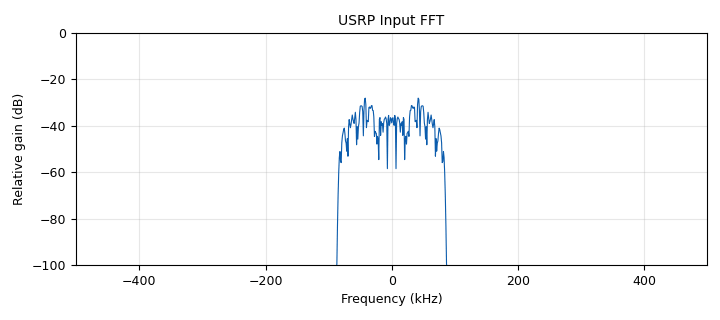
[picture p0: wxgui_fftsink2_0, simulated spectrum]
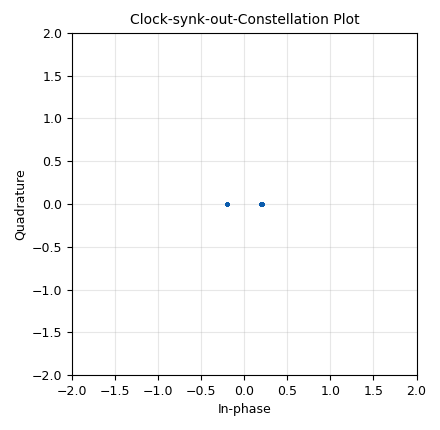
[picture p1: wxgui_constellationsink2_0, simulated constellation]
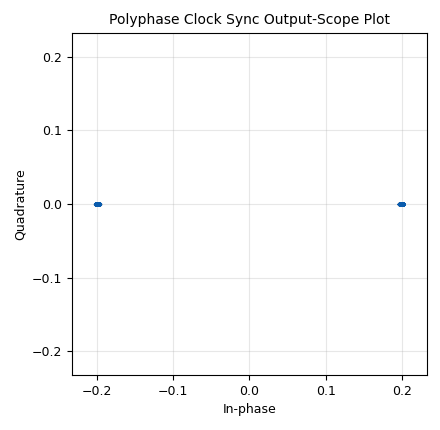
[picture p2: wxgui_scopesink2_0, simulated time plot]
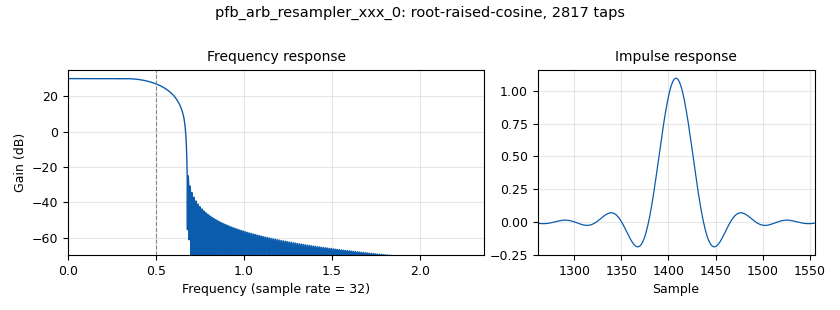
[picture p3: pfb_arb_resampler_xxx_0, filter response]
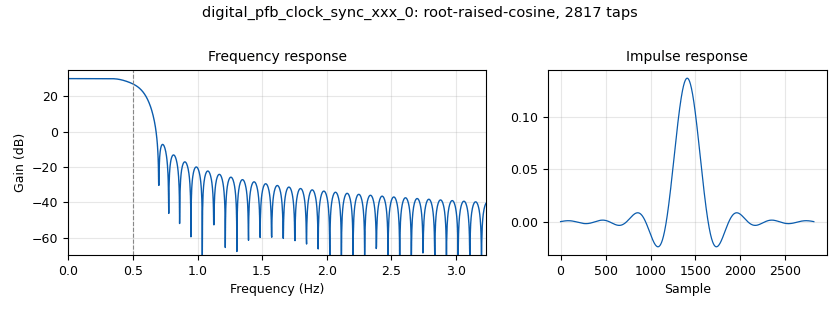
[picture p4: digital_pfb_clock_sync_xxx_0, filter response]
<?xml version='1.0' encoding='utf-8'?>
<flow_graph>
<block>
<key>variable</key>
<param><key>id</key><value>nfilts</value></param>
<param><key>value</key><value>32</value></param>
</block>
<block>
<key>variable</key>
<param><key>id</key><value>constellation</value></param>
<param><key>value</key><value>digital.constellation_bpsk()</value></param>
</block>
<block>
<key>variable</key>
<param><key>id</key><value>sps</value></param>
<param><key>value</key><value>8</value></param>
</block>
<block>
<key>variable</key>
<param><key>id</key><value>rx_taps</value></param>
<param><key>value</key><value>filter.firdes.root_raised_cosine(nfilts, nfilts*sps, 1.0, excess_bw, ntaps)</value></param>
</block>
<block>
<key>variable</key>
<param><key>id</key><value>ntaps</value></param>
<param><key>value</key><value>11*nfilts*sps</value></param>
</block>
<block>
<key>variable</key>
<param><key>id</key><value>tx_taps</value></param>
<param><key>value</key><value>filter.firdes.root_raised_cosine(nfilts, nfilts, 1.0, excess_bw, ntaps)</value></param>
</block>
<block>
<key>variable</key>
<param><key>id</key><value>fll_ntaps</value></param>
<param><key>value</key><value>55</value></param>
</block>
<block>
<key>variable</key>
<param><key>id</key><value>excess_bw</value></param>
<param><key>value</key><value>0.35</value></param>
</block>
<block>
<key>variable</key>
<param><key>id</key><value>freq_bw</value></param>
<param><key>value</key><value>2*pi/100</value></param>
</block>
<block>
<key>variable</key>
<param><key>id</key><value>timing_bw</value></param>
<param><key>value</key><value>2*pi/100</value></param>
</block>
<block>
<key>variable</key>
<param><key>id</key><value>timing_max_dev</value></param>
<param><key>value</key><value>1.5</value></param>
</block>
<block>
<key>variable</key>
<param><key>id</key><value>phase_bw</value></param>
<param><key>value</key><value>2*pi/100</value></param>
</block>
<block>
<key>variable</key>
<param><key>id</key><value>bps</value></param>
<param><key>value</key><value>constellation.bits_per_symbol()</value></param>
</block>
<block>
<key>variable</key>
<param><key>id</key><value>arity</value></param>
<param><key>value</key><value>pow(2, bps)</value></param>
</block>
<block>
<key>variable</key>
<param><key>id</key><value>samp_rate</value></param>
<param><key>value</key><value>1e6</value></param>
</block>
<block>
<key>import</key>
<param><key>id</key><value>pi</value></param>
<param><key>import</key><value>from math import pi</value></param>
</block>
<block>
<key>import</key>
<param><key>id</key><value>filt</value></param>
<param><key>import</key><value>from gnuradio import filter</value></param>
</block>
<block>
<key>import</key>
<param><key>id</key><value>digital</value></param>
<param><key>import</key><value>from gnuradio import digital</value></param>
</block>
<block>
<key>digital_map_bb</key>
<param><key>id</key><value>digital_map_bb_0</value></param>
<param><key>map</key><value>constellation.pre_diff_code()</value></param>
</block>
<block>
<key>digital_chunks_to_symbols_xx</key>
<param><key>id</key><value>digital_chunks_to_symbols_xx_0</value></param>
<param><key>in_type</key><value>byte</value></param>
<param><key>out_type</key><value>complex</value></param>
<param><key>symbol_table</key><value>constellation.points()</value></param>
<param><key>dimension</key><value>1</value></param>
</block>
<block>
<key>blocks_multiply_const_vxx</key>
<param><key>id</key><value>blocks_multiply_const_vxx_0</value></param>
<param><key>type</key><value>complex</value></param>
<param><key>const</key><value>0.2</value></param>
</block>
<block>
<key>uhd_usrp_sink</key>
<param><key>id</key><value>uhd_usrp_sink_0</value></param>
<param><key>_enabled</key><value>False</value></param>
<param><key>type</key><value>fc32</value></param>
<param><key>dev_addr</key><value></value></param>
<param><key>sync</key><value></value></param>
<param><key>clock_rate</key><value>0.0</value></param>
<param><key>samp_rate</key><value>samp_rate</value></param>
<param><key>center_freq0</key><value>900e6</value></param>
<param><key>gain0</key><value>20</value></param>
<param><key>ant0</key><value></value></param>
</block>
<block>
<key>wxgui_fftsink2</key>
<param><key>id</key><value>wxgui_fftsink2_0</value></param>
<param><key>type</key><value>complex</value></param>
<param><key>title</key><value>USRP Input FFT</value></param>
<param><key>samp_rate</key><value>samp_rate</value></param>
<param><key>baseband_freq</key><value>0</value></param>
<param><key>y_per_div</key><value>10</value></param>
<param><key>y_divs</key><value>10</value></param>
<param><key>ref_level</key><value>0</value></param>
<param><key>ref_scale</key><value>2.0</value></param>
<param><key>fft_size</key><value>1024</value></param>
<param><key>fft_rate</key><value>15</value></param>
<param><key>peak_hold</key><value>False</value></param>
<param><key>average</key><value>False</value></param>
<param><key>avg_alpha</key><value>0</value></param>
<param><key>win</key><value>window.blackmanharris</value></param>
<param><key>notebook</key><value>notebook, 1</value></param>
<param><key>freqvar</key><value>None</value></param>
</block>
<block>
<key>notebook</key>
<param><key>id</key><value>notebook</value></param>
<param><key>style</key><value>wx.NB_TOP</value></param>
<param><key>labels</key><value>['clock-sync-out-scope', 'usrp-in-fft', 'clock-sync-out-const']</value></param>
</block>
<block>
<key>uhd_usrp_source</key>
<param><key>id</key><value>uhd_usrp_source_0</value></param>
<param><key>_enabled</key><value>False</value></param>
<param><key>type</key><value>fc32</value></param>
<param><key>dev_addr</key><value></value></param>
<param><key>sync</key><value></value></param>
<param><key>clock_rate</key><value>0.0</value></param>
<param><key>samp_rate</key><value>samp_rate</value></param>
<param><key>center_freq0</key><value>0</value></param>
<param><key>gain0</key><value>0</value></param>
<param><key>ant0</key><value></value></param>
</block>
<block>
<key>blocks_throttle</key>
<param><key>id</key><value>blocks_throttle_0</value></param>
<param><key>type</key><value>complex</value></param>
<param><key>samples_per_second</key><value>samp_rate</value></param>
</block>
<block>
<key>digital_fll_band_edge_cc</key>
<param><key>id</key><value>digital_fll_band_edge_cc_0</value></param>
<param><key>type</key><value>cc</value></param>
<param><key>samps_per_sym</key><value>sps</value></param>
<param><key>rolloff</key><value>excess_bw</value></param>
<param><key>filter_size</key><value>fll_ntaps</value></param>
<param><key>w</key><value>freq_bw</value></param>
</block>
<block>
<key>wxgui_constellationsink2</key>
<param><key>id</key><value>wxgui_constellationsink2_0</value></param>
<param><key>title</key><value>Clock-synk-out-Constellation Plot</value></param>
<param><key>samp_rate</key><value>samp_rate/sps</value></param>
<param><key>frame_rate</key><value>5</value></param>
<param><key>const_size</key><value>2048</value></param>
<param><key>M</key><value>4</value></param>
<param><key>theta</key><value>0</value></param>
<param><key>loop_bw</key><value>6.28/100.0</value></param>
<param><key>fmax</key><value>0.06</value></param>
<param><key>mu</key><value>0.5</value></param>
<param><key>gain_mu</key><value>0.005</value></param>
<param><key>symbol_rate</key><value>samp_rate/sps</value></param>
<param><key>omega_limit</key><value>0.005</value></param>
<param><key>notebook</key><value>notebook, 2</value></param>
</block>
<block>
<key>wxgui_scopesink2</key>
<param><key>id</key><value>wxgui_scopesink2_0</value></param>
<param><key>type</key><value>complex</value></param>
<param><key>title</key><value>Polyphase Clock Sync Output-Scope Plot</value></param>
<param><key>samp_rate</key><value>samp_rate/sps</value></param>
<param><key>v_scale</key><value>0</value></param>
<param><key>v_offset</key><value>0</value></param>
<param><key>t_scale</key><value>0</value></param>
<param><key>ac_couple</key><value>False</value></param>
<param><key>xy_mode</key><value>True</value></param>
<param><key>num_inputs</key><value>1</value></param>
<param><key>notebook</key><value>notebook, 0</value></param>
<param><key>trig_mode</key><value>wxgui.TRIG_MODE_AUTO</value></param>
<param><key>y_axis_label</key><value>Counts</value></param>
</block>
<block>
<key>pfb_arb_resampler_xxx</key>
<param><key>id</key><value>pfb_arb_resampler_xxx_0</value></param>
<param><key>type</key><value>ccf</value></param>
<param><key>rrate</key><value>sps</value></param>
<param><key>taps</key><value>tx_taps</value></param>
<param><key>nfilts</key><value>32</value></param>
<param><key>atten</key><value>100</value></param>
</block>
<block>
<key>digital_pfb_clock_sync_xxx</key>
<param><key>id</key><value>digital_pfb_clock_sync_xxx_0</value></param>
<param><key>type</key><value>ccf</value></param>
<param><key>sps</key><value>sps</value></param>
<param><key>loop_bw</key><value>timing_bw</value></param>
<param><key>taps</key><value>rx_taps</value></param>
<param><key>filter_size</key><value>nfilts</value></param>
<param><key>init_phase</key><value>nfilts//2</value></param>
<param><key>max_dev</key><value>timing_max_dev</value></param>
<param><key>osps</key><value>1</value></param>
</block>
<block>
<key>import</key>
<param><key>id</key><value>mod_codes</value></param>
<param><key>import</key><value>from gnuradio.digital.utils import mod_codes</value></param>
</block>
<block>
<key>digital_diff_decoder_bb</key>
<param><key>id</key><value>digital_diff_decoder_bb_0</value></param>
<param><key>modulus</key><value>arity</value></param>
</block>
<block>
<key>analog_random_source_x</key>
<param><key>id</key><value>analog_random_source_x_0</value></param>
<param><key>type</key><value>byte</value></param>
<param><key>min</key><value>0</value></param>
<param><key>max</key><value>256</value></param>
<param><key>num_samps</key><value>10000</value></param>
<param><key>repeat</key><value>True</value></param>
</block>
<block>
<key>blocks_packed_to_unpacked_xx</key>
<param><key>id</key><value>blocks_packed_to_unpacked_xx_0</value></param>
<param><key>type</key><value>byte</value></param>
<param><key>bits_per_chunk</key><value>bps</value></param>
<param><key>endianness</key><value>gr.GR_MSB_FIRST</value></param>
</block>
<block>
<key>digital_map_bb</key>
<param><key>id</key><value>digital_map_bb_1</value></param>
<param><key>map</key><value>mod_codes.invert_code(constellation.pre_diff_code())</value></param>
</block>
<block>
<key>options</key>
<param><key>id</key><value>top_block</value></param>
<param><key>generate_options</key><value>wx_gui</value></param>
<param><key>category</key><value>Custom</value></param>
</block>
<block>
<key>blocks_file_sink</key>
<param><key>id</key><value>blocks_file_sink_0</value></param>
<param><key>file</key><value>/home/manu/flowgraphs/rsource-out.bin</value></param>
<param><key>type</key><value>byte</value></param>
</block>
<block>
<key>blocks_file_sink</key>
<param><key>id</key><value>blocks_file_sink_1</value></param>
<param><key>file</key><value>/home/manu/flowgraphs/pkd-unpkd.bin</value></param>
<param><key>type</key><value>byte</value></param>
</block>
<block>
<key>blocks_file_sink</key>
<param><key>id</key><value>blocks_file_sink_2</value></param>
<param><key>file</key><value>/home/manu/flowgraphs/rec-map.bin</value></param>
<param><key>type</key><value>byte</value></param>
</block>
<block>
<key>digital_diff_encoder_bb</key>
<param><key>id</key><value>digital_diff_encoder_bb_0</value></param>
<param><key>modulus</key><value>arity</value></param>
</block>
<block>
<key>blocks_file_sink</key>
<param><key>id</key><value>blocks_file_sink_3</value></param>
<param><key>file</key><value>/home/manu/flowgraphs/diff-enc-out.bin</value></param>
<param><key>type</key><value>byte</value></param>
</block>
<block>
<key>digital_constellation_receiver_cb</key>
<param><key>id</key><value>digital_constellation_receiver_cb_0</value></param>
<param><key>constellation</key><value>constellation.base()</value></param>
<param><key>loop_bw</key><value>phase_bw</value></param>
<param><key>fmin</key><value>-0.25</value></param>
<param><key>fmax</key><value>0.25</value></param>
</block>
<block>
<key>blocks_file_sink</key>
<param><key>id</key><value>blocks_file_sink_4</value></param>
<param><key>file</key><value>/home/manu/flowgraphs/diff-decod-in.bin</value></param>
<param><key>type</key><value>byte</value></param>
</block>
<connection><source_block_id>uhd_usrp_source_0</source_block_id><sink_block_id>digital_fll_band_edge_cc_0</sink_block_id><source_key>0</source_key><sink_key>0</sink_key></connection>
<connection><source_block_id>digital_pfb_clock_sync_xxx_0</source_block_id><sink_block_id>wxgui_constellationsink2_0</sink_block_id><source_key>0</source_key><sink_key>0</sink_key></connection>
<connection><source_block_id>analog_random_source_x_0</source_block_id><sink_block_id>blocks_packed_to_unpacked_xx_0</sink_block_id><source_key>0</source_key><sink_key>0</sink_key></connection>
<connection><source_block_id>blocks_throttle_0</source_block_id><sink_block_id>digital_fll_band_edge_cc_0</sink_block_id><source_key>0</source_key><sink_key>0</sink_key></connection>
<connection><source_block_id>pfb_arb_resampler_xxx_0</source_block_id><sink_block_id>blocks_multiply_const_vxx_0</sink_block_id><source_key>0</source_key><sink_key>0</sink_key></connection>
<connection><source_block_id>blocks_multiply_const_vxx_0</source_block_id><sink_block_id>uhd_usrp_sink_0</sink_block_id><source_key>0</source_key><sink_key>0</sink_key></connection>
<connection><source_block_id>blocks_multiply_const_vxx_0</source_block_id><sink_block_id>blocks_throttle_0</sink_block_id><source_key>0</source_key><sink_key>0</sink_key></connection>
<connection><source_block_id>digital_fll_band_edge_cc_0</source_block_id><sink_block_id>digital_pfb_clock_sync_xxx_0</sink_block_id><source_key>0</source_key><sink_key>0</sink_key></connection>
<connection><source_block_id>blocks_packed_to_unpacked_xx_0</source_block_id><sink_block_id>digital_map_bb_0</sink_block_id><source_key>0</source_key><sink_key>0</sink_key></connection>
<connection><source_block_id>digital_map_bb_0</source_block_id><sink_block_id>digital_diff_encoder_bb_0</sink_block_id><source_key>0</source_key><sink_key>0</sink_key></connection>
<connection><source_block_id>digital_diff_encoder_bb_0</source_block_id><sink_block_id>digital_chunks_to_symbols_xx_0</sink_block_id><source_key>0</source_key><sink_key>0</sink_key></connection>
<connection><source_block_id>blocks_multiply_const_vxx_0</source_block_id><sink_block_id>wxgui_fftsink2_0</sink_block_id><source_key>0</source_key><sink_key>0</sink_key></connection>
<connection><source_block_id>digital_pfb_clock_sync_xxx_0</source_block_id><sink_block_id>wxgui_scopesink2_0</sink_block_id><source_key>0</source_key><sink_key>0</sink_key></connection>
<connection><source_block_id>digital_chunks_to_symbols_xx_0</source_block_id><sink_block_id>pfb_arb_resampler_xxx_0</sink_block_id><source_key>0</source_key><sink_key>0</sink_key></connection>
<connection><source_block_id>digital_pfb_clock_sync_xxx_0</source_block_id><sink_block_id>digital_constellation_receiver_cb_0</sink_block_id><source_key>0</source_key><sink_key>0</sink_key></connection>
<connection><source_block_id>digital_constellation_receiver_cb_0</source_block_id><sink_block_id>digital_diff_decoder_bb_0</sink_block_id><source_key>0</source_key><sink_key>0</sink_key></connection>
<connection><source_block_id>digital_diff_decoder_bb_0</source_block_id><sink_block_id>digital_map_bb_1</sink_block_id><source_key>0</source_key><sink_key>0</sink_key></connection>
<connection><source_block_id>analog_random_source_x_0</source_block_id><sink_block_id>blocks_file_sink_0</sink_block_id><source_key>0</source_key><sink_key>0</sink_key></connection>
<connection><source_block_id>digital_map_bb_1</source_block_id><sink_block_id>blocks_file_sink_2</sink_block_id><source_key>0</source_key><sink_key>0</sink_key></connection>
<connection><source_block_id>blocks_packed_to_unpacked_xx_0</source_block_id><sink_block_id>blocks_file_sink_1</sink_block_id><source_key>0</source_key><sink_key>0</sink_key></connection>
<connection><source_block_id>digital_diff_encoder_bb_0</source_block_id><sink_block_id>blocks_file_sink_3</sink_block_id><source_key>0</source_key><sink_key>0</sink_key></connection>
<connection><source_block_id>digital_constellation_receiver_cb_0</source_block_id><sink_block_id>blocks_file_sink_4</sink_block_id><source_key>0</source_key><sink_key>0</sink_key></connection>
</flow_graph>
